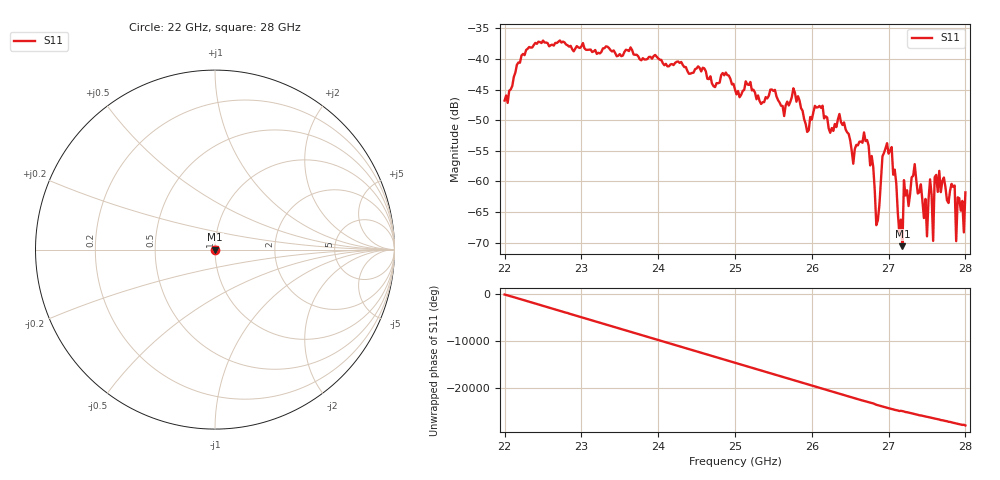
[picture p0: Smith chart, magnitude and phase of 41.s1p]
#  HZ  S  RI  R  50.00
! Rohde & Schwarz ZVA40 4Ports - Version 3.90 - 1145.1110k42 SN: 100403
! Date: 2023-10-04 10:39:21
! Measurement: S12
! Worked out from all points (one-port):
!   301 points, 22 GHz to 28 GHz, reference 50 ohm
!   lowest |S11| = -70.6 dB at 27.18 GHz (marker M1), VSWR 1.00, Z = 50 - j0.0249 ohm
!   |S11| at or under -10 dB: start of sweep to end of sweep
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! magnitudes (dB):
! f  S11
! 22 GHz  -46.8
! 22.76 GHz  -37.1
! 23.5 GHz  -39.2
! 24.26 GHz  -40.4
! 25 GHz  -45.0
! 25.76 GHz  -44.8
! 25.94 GHz  -51.9
! 26.14 GHz  -47.6
! 26.5 GHz  -53.3
! 26.72 GHz  -53.2
! 26.8 GHz  -57.6
! 26.84 GHz  -67.2
! 26.92 GHz  -55.9
! 27.04 GHz  -54.4
! 27.18 GHz  -70.6
! 27.2 GHz  -59.8
! 27.26 GHz  -64.0
! 27.34 GHz  -57.2
! 27.5 GHz  -69.0
! 27.54 GHz  -59.7
! 27.58 GHz  -69.7
! 27.6 GHz  -59.3
! 27.66 GHz  -58.3
! 27.86 GHz  -60.7
! 27.88 GHz  -69.8
! 27.9 GHz  -62.6
! 27.98 GHz  -68.3
! 28 GHz  -61.8
